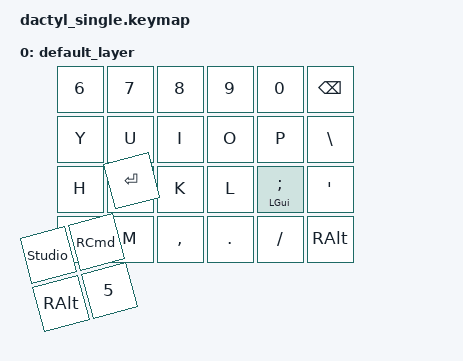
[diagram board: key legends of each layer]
// This file was generated from a template. Edit it to match your keyboard.
// See https://zmk.dev/docs/development/hardware-integration/new-shield for more instructions.

#include <behaviors.dtsi>
#include <dt-bindings/zmk/keys.h>

/ {
    // Define a default keymap here.
    // See https://zmk.dev/docs/development/hardware-integration/new-shield#default-keymap.
    keymap {
        compatible = "zmk,keymap";

        default_layer {
            // Commented layout is not actual layout.
            // -------------------------------------------------------------------------------------------------------------------------
            //           |    6    |    7    |    8    |    9    |    0    |  BSPC   |
            //           |    Y    |    U    |    I    |    O    |    P    |    \    |
            //           |    H    |    J    |    K    |    L    |    ;    |    '    |
            //           |    N    |    M    |    ,    |    .    |    /    |  RALT   |
            //           | ENTER   |
            // | Studio  |   DEL   |
            // |   GUI   |  Lower  |

            bindings = <
            &kp N6    &kp N7     &kp N8     &kp N9     &kp N0         &kp BSPC
            &kp Y     &kp U      &kp I      &kp O      &kp P          &kp BSLH
            &kp H     &kp J      &kp K      &kp L      &mt LGUI SEMI  &kp SQT
            &kp N     &kp M      &kp COMMA  &kp DOT    &kp FSLH       &kp RALT
                      &kp ENTER
&studio_unlock  &kp RCMD
&kp RALT   &kp N5
            >;
        };
    };
};
